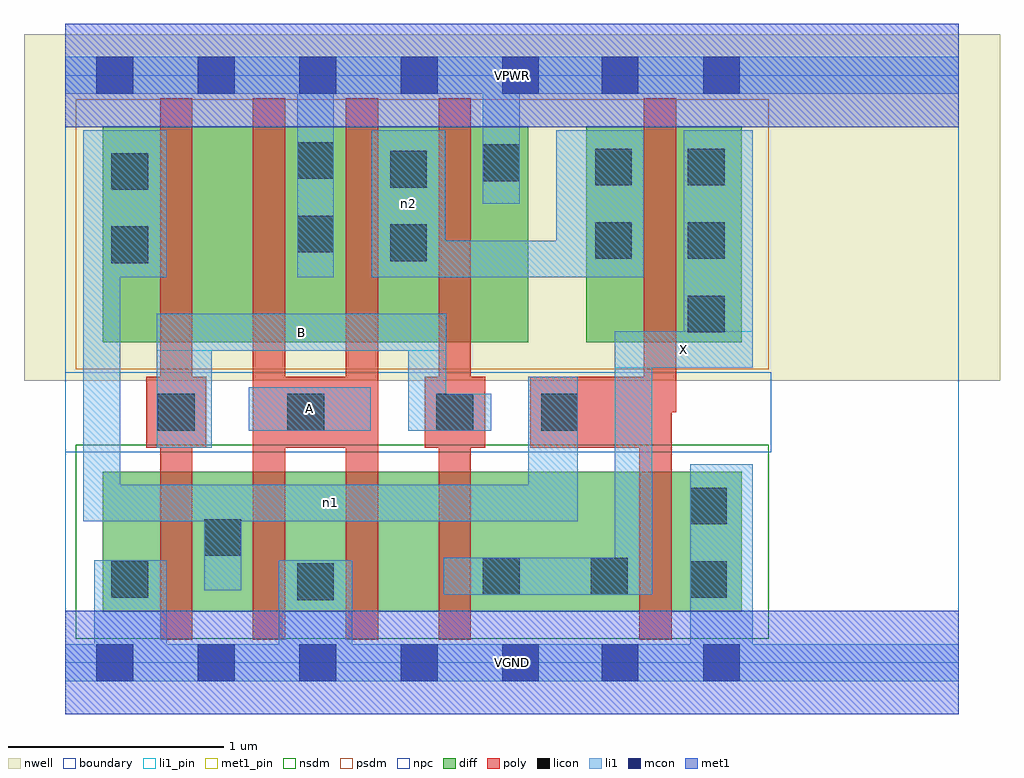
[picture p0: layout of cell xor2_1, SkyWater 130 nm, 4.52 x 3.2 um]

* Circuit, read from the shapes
.subckt xor2_1 A B VGND VPWR X n1 n2
XM1 n1 B VGND VSUBS sky130_fd_pr__nfet_01v8 w=0.65 l=0.15
XM2 VGND A n1 VSUBS sky130_fd_pr__nfet_01v8 w=0.65 l=0.15
XM3 n3 A VGND VSUBS sky130_fd_pr__nfet_01v8 w=0.65 l=0.15
XM4 X B n3 VSUBS sky130_fd_pr__nfet_01v8 w=0.65 l=0.15
XM5 VGND n1 X VSUBS sky130_fd_pr__nfet_01v8 w=0.65 l=0.15
XM6 n4 B n1 n5 sky130_fd_pr__pfet_01v8 w=1 l=0.15
XM7 VPWR A n4 n5 sky130_fd_pr__pfet_01v8 w=1 l=0.15
XM8 n2 A VPWR n5 sky130_fd_pr__pfet_01v8 w=1 l=0.15
XM9 VPWR B n2 n5 sky130_fd_pr__pfet_01v8 w=1 l=0.15
XM10 X n1 n2 n5 sky130_fd_pr__pfet_01v8 w=1 l=0.15
.ends

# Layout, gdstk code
import gdstk
lib = gdstk.Library(unit=1e-6, precision=1e-09)
def R(c, l, rs):  # rectangles x0, y0, x1, y1
    for r in rs: c.add(gdstk.rectangle(r[:2], r[2:], *l))
def A(c, l, x, y, w, h, nx, ny, dx, dy):  # array of equal rectangles
    R(c, l, [(x+i*dx, y+j*dy, x+i*dx+w, y+j*dy+h) for i in range(nx) for j in range(ny)])
nwell = (64, 20)
diff = (65, 20)
poly = (66, 20)
licon = (66, 44)
li1_pin = (67, 16)
li1 = (67, 20)
mcon = (67, 44)
met1_pin = (68, 16)
met1 = (68, 20)
nsdm = (93, 44)
psdm = (94, 20)
npc = (95, 20)
boundary = (235, 4)

xor2_1 = lib.new_cell('xor2_1')
R(xor2_1, nwell, [(-0.19,1.305,4.33,2.91), (0,1.305,4.14,2.91)])
R(xor2_1, diff, [(0.175,0.235,3.135,0.885), (0.175,1.485,2.145,2.485), (2.415,1.485,3.135,2.485)])
A(xor2_1, poly, 0.44, 0.105, 0.15, 2.51, 4, 1, 0.43, 0)
R(xor2_1, poly, [(2.66,0.105,2.81,1.325), (0.375,0.995,0.655,1.325), (0.87,0.995,1.45,1.325), (1.665,0.995,1.945,1.325), (2.155,0.995,2.81,1.325), (2.68,1.16,2.83,2.615)])
A(xor2_1, licon, 2.885, 1.53, 0.17, 0.17, 1, 3, 0, 0.34)
R(xor2_1, licon, [(1.075,0.29,1.245,0.46), (0.215,0.3,0.385,0.47), (2.895,0.3,3.065,0.47), (1.935,0.315,2.105,0.485), (2.435,0.315,2.605,0.485), (0.645,0.495,0.815,0.665), (2.895,0.64,3.065,0.81), (0.43,1.075,0.6,1.245), (1.03,1.075,1.2,1.245), (1.72,1.075,1.89,1.245), (2.205,1.075,2.375,1.245), (0.215,1.85,0.385,2.02), (1.505,1.86,1.675,2.03), (2.455,1.87,2.625,2.04), (1.075,1.9,1.245,2.07), (0.215,2.19,0.385,2.36), (1.505,2.2,1.675,2.37), (2.455,2.21,2.625,2.38), (1.935,2.23,2.105,2.4), (1.075,2.24,1.245,2.41)])
R(xor2_1, li1_pin, [(0.85,1.075,1.415,1.275), (2.545,1.365,3.185,1.535), (0.425,1.445,1.765,1.615)])
R(xor2_1, li1, [(0,-0.085,4.14,0.085), (0.135,-0.085,0.47,0.475), (0.99,-0.085,1.33,0.475), (2.895,-0.085,3.185,0.92), (1.755,0.315,2.72,0.485), (2.545,0.315,2.72,1.535), (0.645,0.335,0.815,0.825), (0.085,0.655,2.375,0.825), (0.085,0.655,0.255,2.465), (2.145,0.655,2.375,1.325), (0.425,0.995,0.68,1.615), (0.85,1.075,1.415,1.275), (1.59,1.075,1.975,1.245), (1.59,1.075,1.765,1.615), (2.545,1.365,3.185,1.535), (2.865,1.365,3.185,2.465), (0.425,1.445,1.765,1.615), (0.085,1.785,0.47,2.465), (1.075,1.785,1.245,2.805), (1.42,1.785,1.76,2.465), (1.42,1.785,2.68,1.955), (2.275,1.785,2.68,2.465), (1.935,2.125,2.105,2.805), (0,2.635,4.14,2.805)])
A(xor2_1, mcon, 0.145, -0.085, 0.17, 0.17, 5, 2, 0.47, 2.72)
R(xor2_1, mcon, [(2.485,-0.085,2.655,0.085), (2.955,-0.085,3.125,0.085), (2.485,2.635,2.655,2.805), (2.955,2.635,3.125,2.805)])
R(xor2_1, met1_pin, [(0,-0.24,4.14,0.24), (0,2.48,4.14,2.96)])
R(xor2_1, met1, [(0,-0.24,4.14,0.24), (0,2.48,4.14,2.96)])
R(xor2_1, nsdm, [(0.05,0.11,3.26,1.01)])
R(xor2_1, psdm, [(0.05,1.36,3.26,2.61)])
R(xor2_1, npc, [(0,0.975,3.27,1.345)])
R(xor2_1, boundary, [(0,0,4.14,2.72)])
xor2_1.add(gdstk.Label('A', (1.132,1.175), layer=67, texttype=5))
xor2_1.add(gdstk.Label('B', (1.095,1.53), layer=67, texttype=5))
xor2_1.add(gdstk.Label('X', (2.865,1.45), layer=67, texttype=5))
xor2_1.add(gdstk.Label('n1', (1.23,0.74), layer=67, texttype=5))
xor2_1.add(gdstk.Label('n2', (1.59,2.125), layer=67, texttype=5))
xor2_1.add(gdstk.Label('VPWR', (2.07,2.72), layer=68, texttype=5))
xor2_1.add(gdstk.Label('VGND', (2.07,0), layer=68, texttype=5))
xor2_1.add(gdstk.Label('A', (1.132,1.175), layer=67, texttype=16))
xor2_1.add(gdstk.Label('B', (1.095,1.53), layer=67, texttype=16))
xor2_1.add(gdstk.Label('X', (2.865,1.45), layer=67, texttype=16))
xor2_1.add(gdstk.Label('VPWR', (2.07,2.72), layer=68, texttype=16))
xor2_1.add(gdstk.Label('VGND', (2.07,0), layer=68, texttype=16))

lib.write_gds('xor2_1.gds')
